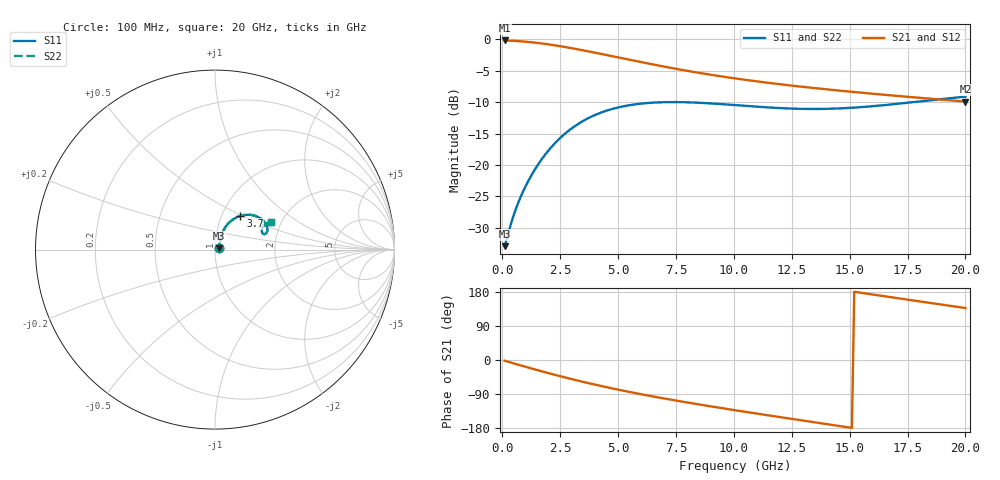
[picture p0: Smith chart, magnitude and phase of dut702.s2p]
! Touchstone file exported from HFSS 2024.1.0
!  File:  C:/UserFiles/LocalFiles/RDL_TSV_Batchsim/temp_RDL_TSV_702_1779885966.aedt
!  Generated:  09:02:54 PM May 27, 2026
!  Design:  RDL_TSV
!  Project:  temp_RDL_TSV_702_1779885966
!  Setup:  Setup1
!  Solution:  Sweep
! Variables:
!  dtsv = 5.9um
!  hbump = 3um
!  htsv = 78.32um
!  ldown = 282.36um
!  lrdl = 591.43um
!  p = 40
!  p1 = 52.96um
!  rhole = 10um
!  subl = 3212.8um
!  t = 450um
!  tdown = 3.73um
!  trdl = 2.43um
!  viad = 10um
!  wdown = 14.58um
!  wrdl = 23.87um
!  xbump = 18um
# GHz S MA R 50.000000
! Terminal data exported
! Port[1] = TM1_1_T1
! Port[2] = TM1_4_T1
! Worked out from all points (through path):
!   200 points, 100 MHz to 20 GHz, reference 50 ohm
!   highest |S21| = -0.19 dB at 100 MHz (marker M1); lowest = -9.9 dB at 20 GHz (marker M2)
!   group delay of S21, straight-line fit = 29.3 ps
!   lowest |S11| = -32.9 dB at 100 MHz (marker M3), VSWR 1.05, Z = 52.2 + j0.714 ohm
!   |S11| at or under -10 dB: start of sweep to 7.034 GHz; 7.743 GHz to 17.73 GHz (9.985 GHz wide, 78.4 % of centre)
!   |S22| runs from -32.9 to -9.1 dB; largest |S21 - S12| = 1.4e-14
!   S11 on the Smith chart (normalised r, x): 100 MHz: 1.04, +0.01; 3.7 GHz: 1.22, +0.49; 20 GHz: 1.78, +0.62
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0.1  0.02265 17.6  0.9783 -1.9  0.9783 -1.9  0.02265 17.6
! Gamma 0 0 0 0
! Port Impedance 50 0 50 0
0.4  0.03536 46.2  0.9735 -7.3  0.9735 -7.3  0.03535 46.2
0.7  0.0508 57.1  0.9662 -12.6  0.9662 -12.6  0.05079 57.1
1  0.06754 62.5  0.9567 -17.9  0.9567 -17.9  0.06752 62.6
1.4  0.09181 65.7  0.9406 -24.8  0.9406 -24.8  0.09181 65.7
1.9  0.1243 65.8  0.9158 -33.1  0.9158 -33.1  0.1244 65.9
2.4  0.1576 63.5  0.887 -41.2  0.887 -41.2  0.1577 63.6
2.9  0.1897 59.9  0.8556 -49.0  0.8556 -49.0  0.1899 60.0
3.5  0.2247 54.8  0.8159 -57.9  0.8159 -57.9  0.225 54.9
3.7  0.2352 53.0  0.8025 -60.7  0.8025 -60.7  0.2355 53.1
4.3  0.2627 47.6  0.7625 -69.1  0.7625 -69.1  0.263 47.7
5  0.2869 41.5  0.7174 -78.2  0.7174 -78.2  0.2873 41.6
5.9  0.3064 34.6  0.6634 -89.2  0.6634 -89.2  0.3069 34.7
6.8  0.3153 28.8  0.6153 -99.5  0.6153 -99.5  0.3158 28.9
8.4  0.3134 21.4  0.5445 -116.3  0.5445 -116.3  0.3138 21.6
10.1  0.2992 17.6  0.487 -133.0  0.487 -133.0  0.2996 17.8
11.7  0.2855 17.5  0.4455 -148.0  0.4455 -148.0  0.2859 17.7
13.4  0.2791 20.0  0.4106 -163.6  0.4106 -163.6  0.2795 20.3
15  0.2847 23.3  0.3836 -178.2  0.3836 -178.2  0.2853 23.6
16.7  0.302 25.9  0.3592 166.5  0.3592 166.5  0.3029 26.3
18.4  0.3262 26.8  0.3377 151.3  0.3377 151.3  0.3274 27.1
20  0.3499 26.0  0.3199 137.2  0.3199 137.2  0.3513 26.4
